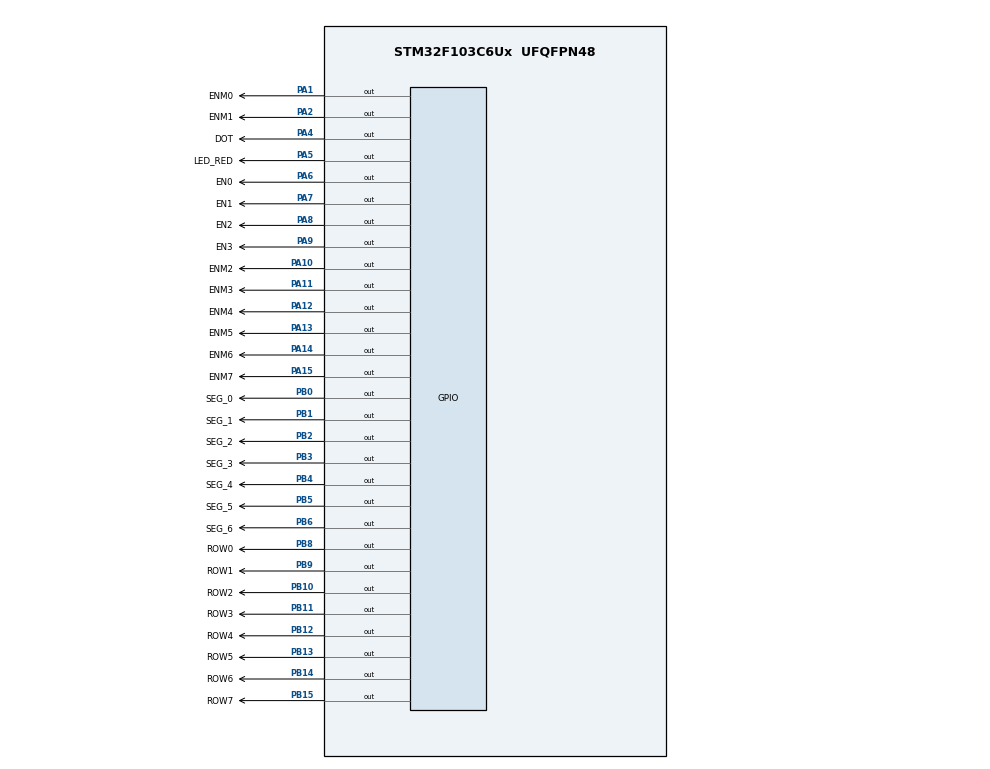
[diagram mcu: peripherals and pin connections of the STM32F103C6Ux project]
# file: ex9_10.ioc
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Mcu.Family=STM32F1
Mcu.Name=STM32F103C6Ux
Mcu.Package=UFQFPN48
NVIC.PriorityGroup=NVIC_PRIORITYGROUP_4
NVIC.TIM2_IRQn=true\:0\:0\:false\:false\:true\:true\:true
PA1.GPIO_Label=ENM0
PA1.Signal=GPIO_Output
PA10.GPIO_Label=ENM2
PA10.Signal=GPIO_Output
PA11.GPIO_Label=ENM3
PA11.Signal=GPIO_Output
PA12.GPIO_Label=ENM4
PA12.Signal=GPIO_Output
PA13.GPIO_Label=ENM5
PA13.Signal=GPIO_Output
PA14.GPIO_Label=ENM6
PA14.Signal=GPIO_Output
PA15.GPIO_Label=ENM7
PA15.Signal=GPIO_Output
PA2.GPIO_Label=ENM1
PA2.Signal=GPIO_Output
PA4.GPIO_Label=DOT
PA4.Signal=GPIO_Output
PA5.GPIO_Label=LED_RED
PA5.Signal=GPIO_Output
PA6.GPIO_Label=EN0
PA6.Signal=GPIO_Output
PA7.GPIO_Label=EN1
PA7.Signal=GPIO_Output
PA8.GPIO_Label=EN2
PA8.Signal=GPIO_Output
PA9.GPIO_Label=EN3
PA9.Signal=GPIO_Output
PB0.GPIO_Label=SEG_0
PB0.Signal=GPIO_Output
PB1.GPIO_Label=SEG_1
PB1.Signal=GPIO_Output
PB10.GPIO_Label=ROW2
PB10.Signal=GPIO_Output
PB11.GPIO_Label=ROW3
PB11.Signal=GPIO_Output
PB12.GPIO_Label=ROW4
PB12.Signal=GPIO_Output
PB13.GPIO_Label=ROW5
PB13.Signal=GPIO_Output
PB14.GPIO_Label=ROW6
PB14.Signal=GPIO_Output
PB15.GPIO_Label=ROW7
PB15.Signal=GPIO_Output
PB2.GPIO_Label=SEG_2
PB2.Signal=GPIO_Output
PB3.GPIO_Label=SEG_3
PB3.Signal=GPIO_Output
PB4.GPIO_Label=SEG_4
PB4.Signal=GPIO_Output
PB5.GPIO_Label=SEG_5
PB5.Signal=GPIO_Output
PB6.GPIO_Label=SEG_6
PB6.Signal=GPIO_Output
PB8.GPIO_Label=ROW0
PB8.Signal=GPIO_Output
PB9.GPIO_Label=ROW1
PB9.Signal=GPIO_Output
ProjectManager.HeapSize=0x200
ProjectManager.StackSize=0x400
ProjectManager.TargetToolchain=STM32CubeIDE
RCC.APB1Freq_Value=8000000
RCC.APB2Freq_Value=8000000
TIM2.Period=9
TIM2.Prescaler=7999
VP_SYS_VS_ND.Mode=No_Debug
VP_TIM2_VS_ClockSourceINT.Mode=Internal
board=custom

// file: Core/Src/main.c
/* USER CODE BEGIN Header */
/**
  ******************************************************************************
  * @file           : main.c
  * @brief          : Main program body
  ******************************************************************************
  * @attention
  *
  * <h2><center>&copy; Copyright (c) 2022 STMicroelectronics.
  * All rights reserved.</center></h2>
  *
  * This software component is licensed by ST under BSD 3-Clause license,
  * the "License"; You may not use this file except in compliance with the
  * License. You may obtain a copy of the License at:
  *                        opensource.org/licenses/BSD-3-Clause
  *
  ******************************************************************************
  */
/* USER CODE END Header */
#include "main.h"

TIM_HandleTypeDef htim2;

void SystemClock_Config(void);
static void MX_GPIO_Init(void);
static void MX_TIM2_Init(void);

/* USER CODE BEGIN 0 */
void display7SEG(int num){
	  if(num == 0){
		  HAL_GPIO_WritePin(SEG_0_GPIO_Port, SEG_0_Pin, RESET);
		  HAL_GPIO_WritePin(SEG_1_GPIO_Port, SEG_1_Pin, RESET);
		  HAL_GPIO_WritePin(SEG_2_GPIO_Port, SEG_2_Pin, RESET);
		  HAL_GPIO_WritePin(SEG_3_GPIO_Port, SEG_3_Pin, RESET);
		  HAL_GPIO_WritePin(SEG_4_GPIO_Port, SEG_4_Pin, RESET);
		  HAL_GPIO_WritePin(SEG_5_GPIO_Port, SEG_5_Pin, RESET);
		  HAL_GPIO_WritePin(SEG_6_GPIO_Port, SEG_6_Pin, SET);
	  }
	  if(num == 1){
		  HAL_GPIO_WritePin(SEG_0_GPIO_Port, SEG_0_Pin, SET);
		  HAL_GPIO_WritePin(SEG_1_GPIO_Port, SEG_1_Pin, RESET);
		  HAL_GPIO_WritePin(SEG_2_GPIO_Port, SEG_2_Pin, RESET);
		  HAL_GPIO_WritePin(SEG_3_GPIO_Port, SEG_3_Pin, SET);
		  HAL_GPIO_WritePin(SEG_4_GPIO_Port, SEG_4_Pin, SET);
		  HAL_GPIO_WritePin(SEG_5_GPIO_Port, SEG_5_Pin, SET);
		  HAL_GPIO_WritePin(SEG_6_GPIO_Port, SEG_6_Pin, SET);
	  }
	  if(num == 2){
		  HAL_GPIO_WritePin(SEG_0_GPIO_Port, SEG_0_Pin, RESET);
		  HAL_GPIO_WritePin(SEG_1_GPIO_Port, SEG_1_Pin, RESET);
		  HAL_GPIO_WritePin(SEG_2_GPIO_Port, SEG_2_Pin, SET);
		  HAL_GPIO_WritePin(SEG_3_GPIO_Port, SEG_3_Pin, RESET);
		  HAL_GPIO_WritePin(SEG_4_GPIO_Port, SEG_4_Pin, RESET);
		  HAL_GPIO_WritePin(SEG_5_GPIO_Port, SEG_5_Pin, SET);
		  HAL_GPIO_WritePin(SEG_6_GPIO_Port, SEG_6_Pin, RESET);
	  }
	  if(num == 3){
		  HAL_GPIO_WritePin(SEG_0_GPIO_Port, SEG_0_Pin, RESET);
		  HAL_GPIO_WritePin(SEG_1_GPIO_Port, SEG_1_Pin, RESET);
		  HAL_GPIO_WritePin(SEG_2_GPIO_Port, SEG_2_Pin, RESET);
		  HAL_GPIO_WritePin(SEG_3_GPIO_Port, SEG_3_Pin, RESET);
		  HAL_GPIO_WritePin(SEG_4_GPIO_Port, SEG_4_Pin, SET);
		  HAL_GPIO_WritePin(SEG_5_GPIO_Port, SEG_5_Pin, SET);
		  HAL_GPIO_WritePin(SEG_6_GPIO_Port, SEG_6_Pin, RESET);
	  }
	  if(num == 4){
		  HAL_GPIO_WritePin(SEG_0_GPIO_Port, SEG_0_Pin, SET);
		  HAL_GPIO_WritePin(SEG_1_GPIO_Port, SEG_1_Pin, RESET);
		  HAL_GPIO_WritePin(SEG_2_GPIO_Port, SEG_2_Pin, RESET);
		  HAL_GPIO_WritePin(SEG_3_GPIO_Port, SEG_3_Pin, SET);
		  HAL_GPIO_WritePin(SEG_4_GPIO_Port, SEG_4_Pin, SET);
		  HAL_GPIO_WritePin(SEG_5_GPIO_Port, SEG_5_Pin, RESET);
		  HAL_GPIO_WritePin(SEG_6_GPIO_Port, SEG_6_Pin, RESET);
	  }
	  if(num == 5){
		  HAL_GPIO_WritePin(SEG_0_GPIO_Port, SEG_0_Pin, RESET);
		  HAL_GPIO_WritePin(SEG_1_GPIO_Port, SEG_1_Pin, SET);
		  HAL_GPIO_WritePin(SEG_2_GPIO_Port, SEG_2_Pin, RESET);
		  HAL_GPIO_WritePin(SEG_3_GPIO_Port, SEG_3_Pin, RESET);
		  HAL_GPIO_WritePin(SEG_4_GPIO_Port, SEG_4_Pin, SET);
		  HAL_GPIO_WritePin(SEG_5_GPIO_Port, SEG_5_Pin, RESET);
		  HAL_GPIO_WritePin(SEG_6_GPIO_Port, SEG_6_Pin, RESET);
	  }
	  if(num == 6){
		  HAL_GPIO_WritePin(SEG_0_GPIO_Port, SEG_0_Pin, RESET);
		  HAL_GPIO_WritePin(SEG_1_GPIO_Port, SEG_1_Pin, SET);
		  HAL_GPIO_WritePin(SEG_2_GPIO_Port, SEG_2_Pin, RESET);
		  HAL_GPIO_WritePin(SEG_3_GPIO_Port, SEG_3_Pin, RESET);
		  HAL_GPIO_WritePin(SEG_4_GPIO_Port, SEG_4_Pin, RESET);
		  HAL_GPIO_WritePin(SEG_5_GPIO_Port, SEG_5_Pin, RESET);
		  HAL_GPIO_WritePin(SEG_6_GPIO_Port, SEG_6_Pin, RESET);
	  }
	  if(num == 7){
		  HAL_GPIO_WritePin(SEG_0_GPIO_Port, SEG_0_Pin, RESET);
		  HAL_GPIO_WritePin(SEG_1_GPIO_Port, SEG_1_Pin, RESET);
		  HAL_GPIO_WritePin(SEG_2_GPIO_Port, SEG_2_Pin, RESET);
		  HAL_GPIO_WritePin(SEG_3_GPIO_Port, SEG_3_Pin, SET);
		  HAL_GPIO_WritePin(SEG_4_GPIO_Port, SEG_4_Pin, SET);
		  HAL_GPIO_WritePin(SEG_5_GPIO_Port, SEG_5_Pin, SET);
		  HAL_GPIO_WritePin(SEG_6_GPIO_Port, SEG_6_Pin, SET);
	  }
	  if(num == 8){
		  HAL_GPIO_WritePin(SEG_0_GPIO_Port, SEG_0_Pin, RESET);
		  HAL_GPIO_WritePin(SEG_1_GPIO_Port, SEG_1_Pin, RESET);
		  HAL_GPIO_WritePin(SEG_2_GPIO_Port, SEG_2_Pin, RESET);
		  HAL_GPIO_WritePin(SEG_3_GPIO_Port, SEG_3_Pin, RESET);
		  HAL_GPIO_WritePin(SEG_4_GPIO_Port, SEG_4_Pin, RESET);
		  HAL_GPIO_WritePin(SEG_5_GPIO_Port, SEG_5_Pin, RESET);
		  HAL_GPIO_WritePin(SEG_6_GPIO_Port, SEG_6_Pin, RESET);
	  }
	  if(num == 9){
		  HAL_GPIO_WritePin(SEG_0_GPIO_Port, SEG_0_Pin, RESET);
		  HAL_GPIO_WritePin(SEG_1_GPIO_Port, SEG_1_Pin, RESET);
		  HAL_GPIO_WritePin(SEG_2_GPIO_Port, SEG_2_Pin, RESET);
		  HAL_GPIO_WritePin(SEG_3_GPIO_Port, SEG_3_Pin, RESET);
		  HAL_GPIO_WritePin(SEG_4_GPIO_Port, SEG_4_Pin, SET);
		  HAL_GPIO_WritePin(SEG_5_GPIO_Port, SEG_5_Pin, RESET);
		  HAL_GPIO_WritePin(SEG_6_GPIO_Port, SEG_6_Pin, RESET);
	  }
}
const int MAX_LED = 4;
int index_led = 0;
int led_buffer [4] = {1 , 2 , 3 , 4};
void update7SEG(int index){
	switch(index){
	case 0:
		HAL_GPIO_WritePin(EN1_GPIO_Port, EN1_Pin, SET);
		HAL_GPIO_WritePin(EN2_GPIO_Port, EN2_Pin, SET);
		HAL_GPIO_WritePin(EN3_GPIO_Port, EN3_Pin, SET);
		display7SEG(led_buffer[0]);
		HAL_GPIO_WritePin(EN0_GPIO_Port, EN0_Pin, RESET);
		break;
	case 1:
		HAL_GPIO_WritePin(EN0_GPIO_Port, EN0_Pin, SET);
		HAL_GPIO_WritePin(EN2_GPIO_Port, EN2_Pin, SET);
		HAL_GPIO_WritePin(EN3_GPIO_Port, EN3_Pin, SET);
		display7SEG(led_buffer[1]);
		HAL_GPIO_WritePin(EN1_GPIO_Port, EN1_Pin, RESET);
		break;
	case 2:
		HAL_GPIO_WritePin(EN0_GPIO_Port, EN0_Pin, SET);
		HAL_GPIO_WritePin(EN1_GPIO_Port, EN1_Pin, SET);
		HAL_GPIO_WritePin(EN3_GPIO_Port, EN3_Pin, SET);
		display7SEG(led_buffer[2]);
		HAL_GPIO_WritePin(EN2_GPIO_Port, EN2_Pin, RESET);
		break;
	case 3:
		HAL_GPIO_WritePin(EN0_GPIO_Port, EN0_Pin, SET);
		HAL_GPIO_WritePin(EN1_GPIO_Port, EN1_Pin, SET);
		HAL_GPIO_WritePin(EN2_GPIO_Port, EN2_Pin, SET);
		display7SEG(led_buffer[3]);
		HAL_GPIO_WritePin(EN3_GPIO_Port, EN3_Pin, RESET);
		break;
	default:
		index = 0;
		break;
	}
}
int hour = 15, minute = 18, second = 50;
void updateClockBuffer(){
	led_buffer[0] = hour / 10;
	led_buffer[1] = hour % 10;
	led_buffer[2] = minute / 10;
	led_buffer[3] = minute % 10;
}

uint8_t matrix_buffer[8] = {0x18,0x3C,0x66,0x66,0x7E,0x66,0x66,0x66};
int rowBuffer[8] ={1,1,1,1,1,1,1,1};
int offset = 0;

void updateRowSignal(int index, int offset){
	/*
	 * Extract digit from buffer in order to control row's signal
	 * Ex: 12345678
	 * rowBuffer[0] = 1
	 * rowBuffer[1] = 2
	 * ...
	 * rowBuffer[7] = 8
	 */
	rowBuffer[0] = ((matrix_buffer[index] >> (7+offset)) & 1);
	rowBuffer[1] = ((matrix_buffer[index] >> (6+offset)) & 1);
	rowBuffer[2] = ((matrix_buffer[index] >> (5+offset)) & 1);
	rowBuffer[3] = ((matrix_buffer[index] >> (4+offset)) & 1);
	rowBuffer[4] = ((matrix_buffer[index] >> (3+offset)) & 1);
	rowBuffer[5] = ((matrix_buffer[index] >> (2+offset)) & 1);
	rowBuffer[6] = ((matrix_buffer[index] >> (1+offset)) & 1);
	rowBuffer[7] = ((matrix_buffer[index] >> (0+offset)) & 1);
}
void displayRowSignal(int* rowBuffer){
	if(rowBuffer[0] == 0){
		HAL_GPIO_WritePin(ROW0_GPIO_Port, ROW0_Pin, SET);
	}
	else{
		HAL_GPIO_WritePin(ROW0_GPIO_Port, ROW0_Pin, RESET);
	}
	if(rowBuffer[1] == 0){
		HAL_GPIO_WritePin(ROW1_GPIO_Port, ROW1_Pin, SET);
	}
	else{
		HAL_GPIO_WritePin(ROW1_GPIO_Port, ROW1_Pin, RESET);
	}
	if(rowBuffer[2] == 0){
		HAL_GPIO_WritePin(ROW2_GPIO_Port, ROW2_Pin, SET);
	}
	else{
		HAL_GPIO_WritePin(ROW2_GPIO_Port, ROW2_Pin, RESET);
	}
	if(rowBuffer[3] == 0){
		HAL_GPIO_WritePin(ROW3_GPIO_Port, ROW3_Pin, SET);
	}
	else{
		HAL_GPIO_WritePin(ROW3_GPIO_Port, ROW3_Pin, RESET);
	}
	if(rowBuffer[4] == 0){
		HAL_GPIO_WritePin(ROW4_GPIO_Port, ROW4_Pin, SET);
	}
	else{
		HAL_GPIO_WritePin(ROW4_GPIO_Port, ROW4_Pin, RESET);
	}
	if(rowBuffer[5] == 0){
		HAL_GPIO_WritePin(ROW5_GPIO_Port, ROW5_Pin, SET);
	}
	else{
		HAL_GPIO_WritePin(ROW5_GPIO_Port, ROW5_Pin, RESET);
	}
	if(rowBuffer[6] == 0){
		HAL_GPIO_WritePin(ROW6_GPIO_Port, ROW6_Pin, SET);
	}
	else{
		HAL_GPIO_WritePin(ROW6_GPIO_Port, ROW6_Pin, RESET);
	}
	if(rowBuffer[7] == 0){
		HAL_GPIO_WritePin(ROW7_GPIO_Port, ROW7_Pin, SET);
	}
	else{
		HAL_GPIO_WritePin(ROW7_GPIO_Port, ROW7_Pin, RESET);
	}
}
void updateLEDMaxtrix(int index, int offset){
	switch(index){
	case 0:

		updateRowSignal(index,offset);
		displayRowSignal(rowBuffer);
		HAL_GPIO_WritePin(ENM0_GPIO_Port, ENM0_Pin, RESET);
		HAL_GPIO_WritePin(ENM1_GPIO_Port, ENM1_Pin, SET);
		HAL_GPIO_WritePin(ENM2_GPIO_Port, ENM2_Pin, SET);
		HAL_GPIO_WritePin(ENM3_GPIO_Port, ENM3_Pin, SET);
		HAL_GPIO_WritePin(ENM4_GPIO_Port, ENM4_Pin, SET);
		HAL_GPIO_WritePin(ENM5_GPIO_Port, ENM5_Pin, SET);
		HAL_GPIO_WritePin(ENM6_GPIO_Port, ENM6_Pin, SET);
		HAL_GPIO_WritePin(ENM7_GPIO_Port, ENM7_Pin, SET);
		break;
	case 1:
		updateRowSignal(index,offset);
		displayRowSignal(rowBuffer);
		HAL_GPIO_WritePin(ENM0_GPIO_Port, ENM0_Pin, SET);
		HAL_GPIO_WritePin(ENM1_GPIO_Port, ENM1_Pin, RESET);
		HAL_GPIO_WritePin(ENM2_GPIO_Port, ENM2_Pin, SET);
		HAL_GPIO_WritePin(ENM3_GPIO_Port, ENM3_Pin, SET);
		HAL_GPIO_WritePin(ENM4_GPIO_Port, ENM4_Pin, SET);
		HAL_GPIO_WritePin(ENM5_GPIO_Port, ENM5_Pin, SET);
		HAL_GPIO_WritePin(ENM6_GPIO_Port, ENM6_Pin, SET);
		HAL_GPIO_WritePin(ENM7_GPIO_Port, ENM7_Pin, SET);
		break;
	case 2:
		updateRowSignal(index,offset);
		displayRowSignal(rowBuffer);
		HAL_GPIO_WritePin(ENM0_GPIO_Port, ENM0_Pin, SET);
		HAL_GPIO_WritePin(ENM1_GPIO_Port, ENM1_Pin, SET);
		HAL_GPIO_WritePin(ENM2_GPIO_Port, ENM2_Pin, RESET);
		HAL_GPIO_WritePin(ENM3_GPIO_Port, ENM3_Pin, SET);
		HAL_GPIO_WritePin(ENM4_GPIO_Port, ENM4_Pin, SET);
		HAL_GPIO_WritePin(ENM5_GPIO_Port, ENM5_Pin, SET);
		HAL_GPIO_WritePin(ENM6_GPIO_Port, ENM6_Pin, SET);
		HAL_GPIO_WritePin(ENM7_GPIO_Port, ENM7_Pin, SET);
		break;
	case 3:
		updateRowSignal(index,offset);
		displayRowSignal(rowBuffer);
		HAL_GPIO_WritePin(ENM0_GPIO_Port, ENM0_Pin, SET);
		HAL_GPIO_WritePin(ENM1_GPIO_Port, ENM1_Pin, SET);
		HAL_GPIO_WritePin(ENM2_GPIO_Port, ENM2_Pin, SET);
		HAL_GPIO_WritePin(ENM3_GPIO_Port, ENM3_Pin, RESET);
		HAL_GPIO_WritePin(ENM4_GPIO_Port, ENM4_Pin, SET);
		HAL_GPIO_WritePin(ENM5_GPIO_Port, ENM5_Pin, SET);
		HAL_GPIO_WritePin(ENM6_GPIO_Port, ENM6_Pin, SET);
		HAL_GPIO_WritePin(ENM7_GPIO_Port, ENM7_Pin, SET);
		break;
	case 4:
		updateRowSignal(index,offset);
		displayRowSignal(rowBuffer);
		HAL_GPIO_WritePin(ENM0_GPIO_Port, ENM0_Pin, SET);
		HAL_GPIO_WritePin(ENM1_GPIO_Port, ENM1_Pin, SET);
		HAL_GPIO_WritePin(ENM2_GPIO_Port, ENM2_Pin, SET);
		HAL_GPIO_WritePin(ENM3_GPIO_Port, ENM3_Pin, SET);
		HAL_GPIO_WritePin(ENM4_GPIO_Port, ENM4_Pin, RESET);
		HAL_GPIO_WritePin(ENM5_GPIO_Port, ENM5_Pin, SET);
		HAL_GPIO_WritePin(ENM6_GPIO_Port, ENM6_Pin, SET);
		HAL_GPIO_WritePin(ENM7_GPIO_Port, ENM7_Pin, SET);
		break;
	case 5:
		updateRowSignal(index,offset);
		displayRowSignal(rowBuffer);
		HAL_GPIO_WritePin(ENM0_GPIO_Port, ENM0_Pin, SET);
		HAL_GPIO_WritePin(ENM1_GPIO_Port, ENM1_Pin, SET);
		HAL_GPIO_WritePin(ENM2_GPIO_Port, ENM2_Pin, SET);
		HAL_GPIO_WritePin(ENM3_GPIO_Port, ENM3_Pin, SET);
		HAL_GPIO_WritePin(ENM4_GPIO_Port, ENM4_Pin, SET);
		HAL_GPIO_WritePin(ENM5_GPIO_Port, ENM5_Pin, RESET);
		HAL_GPIO_WritePin(ENM6_GPIO_Port, ENM6_Pin, SET);
		HAL_GPIO_WritePin(ENM7_GPIO_Port, ENM7_Pin, SET);
		break;
	case 6:
		updateRowSignal(index,offset);
		displayRowSignal(rowBuffer);
		HAL_GPIO_WritePin(ENM0_GPIO_Port, ENM0_Pin, SET);
		HAL_GPIO_WritePin(ENM1_GPIO_Port, ENM1_Pin, SET);
		HAL_GPIO_WritePin(ENM2_GPIO_Port, ENM2_Pin, SET);
		HAL_GPIO_WritePin(ENM3_GPIO_Port, ENM3_Pin, SET);
		HAL_GPIO_WritePin(ENM4_GPIO_Port, ENM4_Pin, SET);
		HAL_GPIO_WritePin(ENM5_GPIO_Port, ENM5_Pin, SET);
		HAL_GPIO_WritePin(ENM6_GPIO_Port, ENM6_Pin, RESET);
		HAL_GPIO_WritePin(ENM7_GPIO_Port, ENM7_Pin, SET);
		break;
	case 7:
		updateRowSignal(index,offset);
		displayRowSignal(rowBuffer);
		HAL_GPIO_WritePin(ENM0_GPIO_Port, ENM0_Pin, SET);
		HAL_GPIO_WritePin(ENM1_GPIO_Port, ENM1_Pin, SET);
		HAL_GPIO_WritePin(ENM2_GPIO_Port, ENM2_Pin, SET);
		HAL_GPIO_WritePin(ENM3_GPIO_Port, ENM3_Pin, SET);
		HAL_GPIO_WritePin(ENM4_GPIO_Port, ENM4_Pin, SET);
		HAL_GPIO_WritePin(ENM5_GPIO_Port, ENM5_Pin, SET);
		HAL_GPIO_WritePin(ENM6_GPIO_Port, ENM6_Pin, SET);
		HAL_GPIO_WritePin(ENM7_GPIO_Port, ENM7_Pin, RESET);
		break;
	default:
		index = 0;
		break;

	}
}
void turnOffCol(){

	HAL_GPIO_WritePin(ENM0_GPIO_Port, ENM0_Pin, SET);
	HAL_GPIO_WritePin(ENM1_GPIO_Port, ENM1_Pin, SET);
	HAL_GPIO_WritePin(ENM2_GPIO_Port, ENM2_Pin, SET);
	HAL_GPIO_WritePin(ENM3_GPIO_Port, ENM3_Pin, SET);
	HAL_GPIO_WritePin(ENM4_GPIO_Port, ENM4_Pin, SET);
	HAL_GPIO_WritePin(ENM5_GPIO_Port, ENM5_Pin, SET);
	HAL_GPIO_WritePin(ENM5_GPIO_Port, ENM5_Pin, SET);
	HAL_GPIO_WritePin(ENM7_GPIO_Port, ENM7_Pin, SET);

}
int timer0_counter = 0;
int timer0_flag = 0;
int timer1_counter = 0;
int timer1_flag = 0;

int TIMER_CYCLE = 10;
void setTimer0(int duration){
	timer0_counter = duration / TIMER_CYCLE;
	timer0_flag = 0;
}
void setTimer1(int duration){
	timer1_counter = duration / TIMER_CYCLE;
	timer1_flag = 0;
}
void timerRun(){
	if(timer0_counter > 0){
		timer0_counter--;
		if(timer0_counter == 0){
			timer0_flag = 1;
		}
	}
	if(timer1_counter > 0){
		timer1_counter--;
		if(timer1_counter == 0){
			timer1_flag = 1;
		}
	}
}

/* USER CODE END 0 */

int main(void)
{

  /* MCU Configuration--------------------------------------------------------*/

  /* Reset of all peripherals, Initializes the Flash interface and the Systick. */
  HAL_Init();

  /* Configure the system clock */
  SystemClock_Config();

  /* Initialize all configured peripherals */
  MX_GPIO_Init();
  MX_TIM2_Init();
  /* USER CODE BEGIN 2 */
  HAL_TIM_Base_Start_IT(&htim2);
  /* USER CODE END 2 */

  /* Infinite loop */
  /* USER CODE BEGIN WHILE */

  setTimer0(1000);
  setTimer1(250);
  int indexForMatrix = 0;
  int offsetTimeLeft = 3;
  while (1)
  {
	  /*Timer0 digital clock*/
	  if(timer0_flag == 1){
		  second++;
		  if(second >= 60){
			  second = 0;
			  minute++;
		  }
		  if(minute >= 60){
			  minute = 0;
			  hour++;
		  }
		  if(hour >= 24){
			  hour = 0;
		  }
		  updateClockBuffer();
		  HAL_GPIO_TogglePin(DOT_GPIO_Port, DOT_Pin);
		  HAL_GPIO_TogglePin(LED_RED_GPIO_Port, LED_RED_Pin);
		  setTimer0(1000);
	  }
	  //Timer1 matrix
	  if(timer1_flag == 1){
		  turnOffCol();
		  indexForMatrix++;
		  indexForMatrix = indexForMatrix%8;
		  if(indexForMatrix == 0)
			  offsetTimeLeft--;
		  if(offsetTimeLeft == 0){
			  offset++;
			  offsetTimeLeft = 2;
		  }
		  if(offset >= 8) offset = -7;
		  updateLEDMaxtrix(indexForMatrix, offset);

		  setTimer1(10);
	  }

    /* USER CODE END WHILE */

  }
}

void SystemClock_Config(void)
{
  RCC_OscInitTypeDef RCC_OscInitStruct = {0};
  RCC_ClkInitTypeDef RCC_ClkInitStruct = {0};

  /** Initializes the RCC Oscillators according to the specified parameters
  * in the RCC_OscInitTypeDef structure.
  */
  RCC_OscInitStruct.OscillatorType = RCC_OSCILLATORTYPE_HSI;
  RCC_OscInitStruct.HSIState = RCC_HSI_ON;
  RCC_OscInitStruct.HSICalibrationValue = RCC_HSICALIBRATION_DEFAULT;
  RCC_OscInitStruct.PLL.PLLState = RCC_PLL_NONE;
  if (HAL_RCC_OscConfig(&RCC_OscInitStruct) != HAL_OK)
  {
    Error_Handler();
  }
  /** Initializes the CPU, AHB and APB buses clocks
  */
  RCC_ClkInitStruct.ClockType = RCC_CLOCKTYPE_HCLK|RCC_CLOCKTYPE_SYSCLK
                              |RCC_CLOCKTYPE_PCLK1|RCC_CLOCKTYPE_PCLK2;
  RCC_ClkInitStruct.SYSCLKSource = RCC_SYSCLKSOURCE_HSI;
  RCC_ClkInitStruct.AHBCLKDivider = RCC_SYSCLK_DIV1;
  RCC_ClkInitStruct.APB1CLKDivider = RCC_HCLK_DIV1;
  RCC_ClkInitStruct.APB2CLKDivider = RCC_HCLK_DIV1;

  if (HAL_RCC_ClockConfig(&RCC_ClkInitStruct, FLASH_LATENCY_0) != HAL_OK)
  {
    Error_Handler();
  }
}

static void MX_TIM2_Init(void)
{

  TIM_ClockConfigTypeDef sClockSourceConfig = {0};
  TIM_MasterConfigTypeDef sMasterConfig = {0};

  htim2.Instance = TIM2;
  htim2.Init.Prescaler = 7999;
  htim2.Init.CounterMode = TIM_COUNTERMODE_UP;
  htim2.Init.Period = 9;
  htim2.Init.ClockDivision = TIM_CLOCKDIVISION_DIV1;
  htim2.Init.AutoReloadPreload = TIM_AUTORELOAD_PRELOAD_DISABLE;
  if (HAL_TIM_Base_Init(&htim2) != HAL_OK)
  {
    Error_Handler();
  }
  sClockSourceConfig.ClockSource = TIM_CLOCKSOURCE_INTERNAL;
  if (HAL_TIM_ConfigClockSource(&htim2, &sClockSourceConfig) != HAL_OK)
  {
    Error_Handler();
  }
  sMasterConfig.MasterOutputTrigger = TIM_TRGO_RESET;
  sMasterConfig.MasterSlaveMode = TIM_MASTERSLAVEMODE_DISABLE;
  if (HAL_TIMEx_MasterConfigSynchronization(&htim2, &sMasterConfig) != HAL_OK)
  {
    Error_Handler();
  }

}

static void MX_GPIO_Init(void)
{
  GPIO_InitTypeDef GPIO_InitStruct = {0};

  /* GPIO Ports Clock Enable */
  __HAL_RCC_GPIOA_CLK_ENABLE();
  __HAL_RCC_GPIOB_CLK_ENABLE();

  /*Configure GPIO pin Output Level */
  HAL_GPIO_WritePin(GPIOA, ENM0_Pin|ENM1_Pin|DOT_Pin|LED_RED_Pin
                          |EN0_Pin|EN1_Pin|EN2_Pin|EN3_Pin
                          |ENM2_Pin|ENM3_Pin|ENM4_Pin|ENM5_Pin
                          |ENM6_Pin|ENM7_Pin, GPIO_PIN_RESET);

  /*Configure GPIO pin Output Level */
  HAL_GPIO_WritePin(GPIOB, SEG_0_Pin|SEG_1_Pin|SEG_2_Pin|ROW2_Pin
                          |ROW3_Pin|ROW4_Pin|ROW5_Pin|ROW6_Pin
                          |ROW7_Pin|SEG_3_Pin|SEG_4_Pin|SEG_5_Pin
                          |SEG_6_Pin|ROW0_Pin|ROW1_Pin, GPIO_PIN_RESET);

  /*Configure GPIO pins : ENM0_Pin ENM1_Pin DOT_Pin RED_Pin
                           EN0_Pin EN1_Pin EN2_Pin EN3_Pin
                           ENM2_Pin ENM3_Pin ENM4_Pin ENM5_Pin
                           ENM6_Pin ENM7_Pin */
  GPIO_InitStruct.Pin = ENM0_Pin|ENM1_Pin|DOT_Pin|LED_RED_Pin
                          |EN0_Pin|EN1_Pin|EN2_Pin|EN3_Pin
                          |ENM2_Pin|ENM3_Pin|ENM4_Pin|ENM5_Pin
                          |ENM6_Pin|ENM7_Pin;
  GPIO_InitStruct.Mode = GPIO_MODE_OUTPUT_PP;
  GPIO_InitStruct.Pull = GPIO_NOPULL;
  GPIO_InitStruct.Speed = GPIO_SPEED_FREQ_LOW;
  HAL_GPIO_Init(GPIOA, &GPIO_InitStruct);

  /*Configure GPIO pins : SEG_0_Pin SEG_1_Pin SEG_2_Pin ROW2_Pin
                           ROW3_Pin ROW4_Pin ROW5_Pin ROW6_Pin
                           ROW7_Pin SEG_3_Pin SEG_4_Pin SEG_5_Pin
                           SEG_6_Pin ROW0_Pin ROW1_Pin */
  GPIO_InitStruct.Pin = SEG_0_Pin|SEG_1_Pin|SEG_2_Pin|ROW2_Pin
                          |ROW3_Pin|ROW4_Pin|ROW5_Pin|ROW6_Pin
                          |ROW7_Pin|SEG_3_Pin|SEG_4_Pin|SEG_5_Pin
                          |SEG_6_Pin|ROW0_Pin|ROW1_Pin;
  GPIO_InitStruct.Mode = GPIO_MODE_OUTPUT_PP;
  GPIO_InitStruct.Pull = GPIO_NOPULL;
  GPIO_InitStruct.Speed = GPIO_SPEED_FREQ_LOW;
  HAL_GPIO_Init(GPIOB, &GPIO_InitStruct);

}

/* USER CODE BEGIN 4 */
void HAL_TIM_PeriodElapsedCallback(TIM_HandleTypeDef * htim){
	timerRun();
}
/* USER CODE END 4 */

void Error_Handler(void)
{
  __disable_irq();
  while (1)
  {
  }
}

/************************ (C) COPYRIGHT STMicroelectronics *****END OF FILE****/
